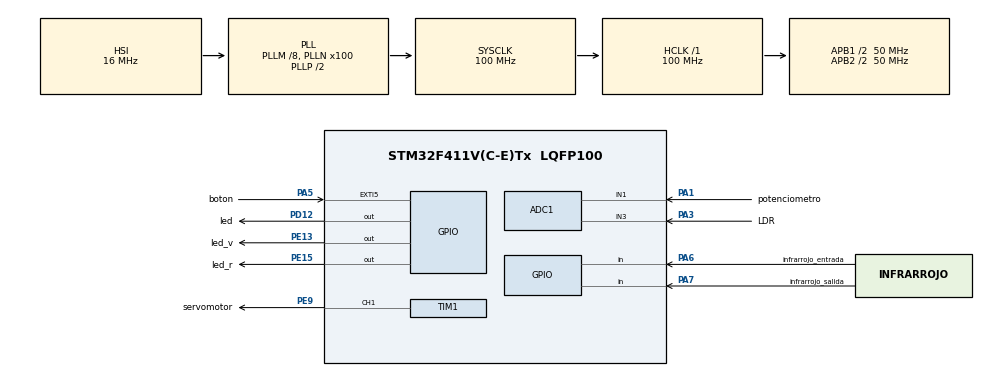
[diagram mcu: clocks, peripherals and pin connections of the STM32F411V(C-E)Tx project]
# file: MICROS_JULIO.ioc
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ADC1.Channel-0\#ChannelRegularConversion=ADC_CHANNEL_1
ADC1.Channel-1\#ChannelRegularConversion=ADC_CHANNEL_1
ADC1.ClockPrescaler=ADC_CLOCK_SYNC_PCLK_DIV2
ADC1.ContinuousConvMode=ENABLE
ADC1.DMAContinuousRequests=ENABLE
ADC1.NbrOfConversion=2
ADC1.NbrOfConversionFlag=1
ADC1.Rank-0\#ChannelRegularConversion=1
ADC1.Rank-1\#ChannelRegularConversion=2
ADC1.SamplingTime-0\#ChannelRegularConversion=ADC_SAMPLETIME_3CYCLES
ADC1.SamplingTime-1\#ChannelRegularConversion=ADC_SAMPLETIME_3CYCLES
ADC1.ScanConvMode=ENABLE
ADC1.master=1
Dma.ADC1.0.Direction=DMA_PERIPH_TO_MEMORY
Dma.ADC1.0.FIFOMode=DMA_FIFOMODE_DISABLE
Dma.ADC1.0.Instance=DMA2_Stream0
Dma.ADC1.0.MemDataAlignment=DMA_MDATAALIGN_HALFWORD
Dma.ADC1.0.MemInc=DMA_MINC_ENABLE
Dma.ADC1.0.Mode=DMA_NORMAL
Dma.ADC1.0.PeriphDataAlignment=DMA_PDATAALIGN_HALFWORD
Dma.ADC1.0.PeriphInc=DMA_PINC_DISABLE
Dma.ADC1.0.Priority=DMA_PRIORITY_LOW
Dma.Request0=ADC1
Mcu.Family=STM32F4
Mcu.Name=STM32F411V(C-E)Tx
Mcu.Package=LQFP100
NVIC.DMA2_Stream0_IRQn=true\:0\:0\:false\:false\:true\:false\:true\:true
NVIC.EXTI9_5_IRQn=true\:0\:0\:false\:false\:true\:true\:true\:true
NVIC.PriorityGroup=NVIC_PRIORITYGROUP_0
PA1.GPIO_Label=potenciometro
PA1.Signal=ADCx_IN1
PA3.GPIO_Label=LDR
PA3.Signal=ADCx_IN3
PA5.GPIO_Label=boton
PA5.Signal=GPXTI5
PA6.GPIO_Label=infrarrojo_entrada
PA6.Signal=GPIO_Input
PA7.GPIO_Label=infrarrojo_salida
PA7.Signal=GPIO_Input
PD12.GPIO_Label=led
PD12.Signal=GPIO_Output
PE13.GPIO_Label=led_v
PE13.Signal=GPIO_Output
PE15.GPIO_Label=led_r
PE15.Signal=GPIO_Output
PE9.GPIO_Label=servomotor
PE9.Signal=S_TIM1_CH1
ProjectManager.HeapSize=0x200
ProjectManager.StackSize=0x400
ProjectManager.TargetToolchain=STM32CubeIDE
RCC.48MHZClocksFreq_Value=25000000
RCC.AHBFreq_Value=100000000
RCC.APB1CLKDivider=RCC_HCLK_DIV2
RCC.APB1Freq_Value=50000000
RCC.APB1TimFreq_Value=100000000
RCC.APB2CLKDivider=RCC_HCLK_DIV2
RCC.APB2Freq_Value=50000000
RCC.APB2TimFreq_Value=100000000
RCC.CortexFreq_Value=100000000
RCC.HCLKFreq_Value=100000000
RCC.HSE_VALUE=8000000
RCC.HSI_VALUE=16000000
RCC.LSE_VALUE=32768
RCC.PLLI2SM=5
RCC.PLLI2SN=200
RCC.PLLM=8
RCC.PLLN=100
RCC.PLLQ=8
RCC.SYSCLKFreq_VALUE=100000000
RCC.SYSCLKSource=RCC_SYSCLKSOURCE_PLLCLK
RCC.VCOOutputFreq_Value=200000000
SH.ADCx_IN1.0=ADC1_IN1,IN1
SH.ADCx_IN3.0=ADC1_IN3,IN3
SH.S_TIM1_CH1.0=TIM1_CH1,PWM Generation1 CH1
TIM1.AutoReloadPreload=TIM_AUTORELOAD_PRELOAD_ENABLE
TIM1.Channel-PWM\ Generation1\ CH1=TIM_CHANNEL_1
TIM1.Period=100-1
TIM1.Prescaler=20000-1
TIM3.Prescaler=100-1
VP_TIM1_VS_ClockSourceINT.Mode=Internal
VP_TIM3_VS_ClockSourceINT.Mode=Internal
board=STM32F411E-DISCO

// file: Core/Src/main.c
/* USER CODE BEGIN Header */
/**
  ******************************************************************************
  * @file           : main.c
  * @brief          : Main program body
  ******************************************************************************
  * @attention
  *
  * Copyright (c) 2024 STMicroelectronics.
  * All rights reserved.
  *
  * This software is licensed under terms that can be found in the LICENSE file
  * in the root directory of this software component.
  * If no LICENSE file comes with this software, it is provided AS-IS.
  *
  ******************************************************************************
  */
/* USER CODE END Header */
#include "main.h"

ADC_HandleTypeDef hadc1;
DMA_HandleTypeDef hdma_adc1;

TIM_HandleTypeDef htim1;
TIM_HandleTypeDef htim3;

void SystemClock_Config(void);
static void MX_GPIO_Init(void);
static void MX_DMA_Init(void);
static void MX_ADC1_Init(void);
static void MX_TIM1_Init(void);
static void MX_TIM3_Init(void);

/* USER CODE BEGIN 0 */

uint32_t valor_adc[2];
uint32_t pot_val=0,ldr_val=0;
uint32_t duty=0;
volatile uint8_t modo=0;
volatile uint8_t dma_completo = 0;
volatile uint8_t bajar_barrera=0;

uint32_t servo_manual(uint32_t value){
	if(value>0 && value<3500){ // cerrado
		HAL_GPIO_WritePin(GPIOE,GPIO_PIN_13,1);
		HAL_GPIO_WritePin(GPIOE,GPIO_PIN_15,0);
		return 5;
	}
	else if(value>=3500){ // abierto
		HAL_GPIO_WritePin(GPIOE,GPIO_PIN_13,0);
		HAL_GPIO_WritePin(GPIOE,GPIO_PIN_15,1);
		return 8;
	}
	else return 8;
}

void servo_automatico(){

	int contador=0,tiempo=0;
//SERVO GIRA SENTIDO ENTRADA
		if((HAL_GPIO_ReadPin(GPIOA,GPIO_PIN_6))&&(bajar_barrera==0)){
			tiempo=HAL_GetTick();
			while(contador<5){
				if((HAL_GetTick()-tiempo)>=25){
					if(HAL_GPIO_ReadPin(GPIOA,GPIO_PIN_6)==0){
						contador=0;
						break;
					}
					else {
						tiempo=HAL_GetTick();
						contador++;
					}
				}
				if((contador==5)&&(HAL_GPIO_ReadPin(GPIOA,GPIO_PIN_6)==1)){
					__HAL_TIM_SET_COMPARE(&htim1,TIM_CHANNEL_1,5); //EL 5 ES POR RETURN 5 DEL SERVO MANUAL
					HAL_GPIO_WritePin(GPIOE,GPIO_PIN_13,1);
					HAL_GPIO_WritePin(GPIOE,GPIO_PIN_15,0);
					bajar_barrera=1;
				}

			}
		}
		contador=0;

//SERVO GIRA SENTIDO SALIDA
		if((HAL_GPIO_ReadPin(GPIOA,GPIO_PIN_7))&&(bajar_barrera==0)){
					tiempo=HAL_GetTick();
					while(contador<5){
						if((HAL_GetTick()-tiempo)>=25){
							if(HAL_GPIO_ReadPin(GPIOA,GPIO_PIN_7)==0){
								contador=0;
								break;
							}
							else {
								tiempo=HAL_GetTick();
								contador++;
							}
						}
						if((contador==5)&&(HAL_GPIO_ReadPin(GPIOA,GPIO_PIN_7)==1)){
							__HAL_TIM_SET_COMPARE(&htim1,TIM_CHANNEL_1,5); //EL 5 ES POR RETURN 5 DEL SERVO MANUAL, pero este hay que cambiarlo creo
							HAL_GPIO_WritePin(GPIOE,GPIO_PIN_13,1);
							HAL_GPIO_WritePin(GPIOE,GPIO_PIN_15,0);
							bajar_barrera=1;
						}

					}
				}
				contador=0;
}

void HAL_GPIO_EXTI_Callback(uint16_t GPIO_Pin){
	if(GPIO_Pin==GPIO_PIN_5){
		if(modo==0)modo=1;
		else if(modo==1)modo=0;
	}
}

int encender_led(uint32_t value){
	if(value<3000)return 1;
	else return 0;
}

void HAL_ADC_ConvCpltCallback(ADC_HandleTypeDef *hadc)
{
  dma_completo = 1;
}

/* USER CODE END 0 */

int main(void)
{

  /* MCU Configuration--------------------------------------------------------*/

  /* Reset of all peripherals, Initializes the Flash interface and the Systick. */
  HAL_Init();

  /* Configure the system clock */
  SystemClock_Config();

  /* Initialize all configured peripherals */
  MX_GPIO_Init();
  MX_DMA_Init();
  MX_ADC1_Init();
  MX_TIM1_Init();
  MX_TIM3_Init();

  /* Infinite loop */
  /* USER CODE BEGIN WHILE */
  int tiempo_barrera=0;
  int aux=0;
  while (1)
  {
	  pot_val=valor_adc[0];
	 	 ldr_val=valor_adc[1];

	 	  if(modo==1) __HAL_TIM_SET_COMPARE(&htim1,TIM_CHANNEL_1,servo_manual(pot_val));
	 	  else servo_automatico();

	 	  HAL_GPIO_WritePin(GPIOD,GPIO_PIN_12,encender_led(ldr_val));

	 	  if((bajar_barrera==1)&&(aux==0)){
	 		  tiempo_barrera=HAL_GetTick();
	 		  aux=1;
	 	  }

	 	  if(HAL_GetTick()-tiempo_barrera>3000){
	 		 __HAL_TIM_SET_COMPARE(&htim1,TIM_CHANNEL_1,8); // cerrado RETURN 8 POR SERVO MANUAL creo
	 		 HAL_GPIO_WritePin(GPIOE,GPIO_PIN_13,0);
	 		 HAL_GPIO_WritePin(GPIOE,GPIO_PIN_15,1);
	 		 bajar_barrera=0;
	 		 aux=0;
	 	  }

    /* USER CODE END WHILE */

  }
}

void SystemClock_Config(void)
{
  RCC_OscInitTypeDef RCC_OscInitStruct = {0};
  RCC_ClkInitTypeDef RCC_ClkInitStruct = {0};

  /** Configure the main internal regulator output voltage
  */
  __HAL_RCC_PWR_CLK_ENABLE();
  __HAL_PWR_VOLTAGESCALING_CONFIG(PWR_REGULATOR_VOLTAGE_SCALE1);

  /** Initializes the RCC Oscillators according to the specified parameters
  * in the RCC_OscInitTypeDef structure.
  */
  RCC_OscInitStruct.OscillatorType = RCC_OSCILLATORTYPE_HSI;
  RCC_OscInitStruct.HSIState = RCC_HSI_ON;
  RCC_OscInitStruct.HSICalibrationValue = RCC_HSICALIBRATION_DEFAULT;
  RCC_OscInitStruct.PLL.PLLState = RCC_PLL_ON;
  RCC_OscInitStruct.PLL.PLLSource = RCC_PLLSOURCE_HSI;
  RCC_OscInitStruct.PLL.PLLM = 8;
  RCC_OscInitStruct.PLL.PLLN = 100;
  RCC_OscInitStruct.PLL.PLLP = RCC_PLLP_DIV2;
  RCC_OscInitStruct.PLL.PLLQ = 8;
  if (HAL_RCC_OscConfig(&RCC_OscInitStruct) != HAL_OK)
  {
    Error_Handler();
  }

  /** Initializes the CPU, AHB and APB buses clocks
  */
  RCC_ClkInitStruct.ClockType = RCC_CLOCKTYPE_HCLK|RCC_CLOCKTYPE_SYSCLK
                              |RCC_CLOCKTYPE_PCLK1|RCC_CLOCKTYPE_PCLK2;
  RCC_ClkInitStruct.SYSCLKSource = RCC_SYSCLKSOURCE_PLLCLK;
  RCC_ClkInitStruct.AHBCLKDivider = RCC_SYSCLK_DIV1;
  RCC_ClkInitStruct.APB1CLKDivider = RCC_HCLK_DIV2;
  RCC_ClkInitStruct.APB2CLKDivider = RCC_HCLK_DIV2;

  if (HAL_RCC_ClockConfig(&RCC_ClkInitStruct, FLASH_LATENCY_3) != HAL_OK)
  {
    Error_Handler();
  }
}

static void MX_ADC1_Init(void)
{

  ADC_ChannelConfTypeDef sConfig = {0};

  /** Configure the global features of the ADC (Clock, Resolution, Data Alignment and number of conversion)
  */
  hadc1.Instance = ADC1;
  hadc1.Init.ClockPrescaler = ADC_CLOCK_SYNC_PCLK_DIV2;
  hadc1.Init.Resolution = ADC_RESOLUTION_12B;
  hadc1.Init.ScanConvMode = ENABLE;
  hadc1.Init.ContinuousConvMode = ENABLE;
  hadc1.Init.DiscontinuousConvMode = DISABLE;
  hadc1.Init.ExternalTrigConvEdge = ADC_EXTERNALTRIGCONVEDGE_NONE;
  hadc1.Init.ExternalTrigConv = ADC_SOFTWARE_START;
  hadc1.Init.DataAlign = ADC_DATAALIGN_RIGHT;
  hadc1.Init.NbrOfConversion = 2;
  hadc1.Init.DMAContinuousRequests = ENABLE;
  hadc1.Init.EOCSelection = ADC_EOC_SINGLE_CONV;
  if (HAL_ADC_Init(&hadc1) != HAL_OK)
  {
    Error_Handler();
  }

  /** Configure for the selected ADC regular channel its corresponding rank in the sequencer and its sample time.
  */
  sConfig.Channel = ADC_CHANNEL_1;
  sConfig.Rank = 1;
  sConfig.SamplingTime = ADC_SAMPLETIME_3CYCLES;
  if (HAL_ADC_ConfigChannel(&hadc1, &sConfig) != HAL_OK)
  {
    Error_Handler();
  }

  /** Configure for the selected ADC regular channel its corresponding rank in the sequencer and its sample time.
  */
  sConfig.Rank = 2;
  if (HAL_ADC_ConfigChannel(&hadc1, &sConfig) != HAL_OK)
  {
    Error_Handler();
  }

}

static void MX_TIM1_Init(void)
{

  TIM_ClockConfigTypeDef sClockSourceConfig = {0};
  TIM_MasterConfigTypeDef sMasterConfig = {0};
  TIM_OC_InitTypeDef sConfigOC = {0};
  TIM_BreakDeadTimeConfigTypeDef sBreakDeadTimeConfig = {0};

  htim1.Instance = TIM1;
  htim1.Init.Prescaler = 20000-1;
  htim1.Init.CounterMode = TIM_COUNTERMODE_UP;
  htim1.Init.Period = 100-1;
  htim1.Init.ClockDivision = TIM_CLOCKDIVISION_DIV1;
  htim1.Init.RepetitionCounter = 0;
  htim1.Init.AutoReloadPreload = TIM_AUTORELOAD_PRELOAD_ENABLE;
  if (HAL_TIM_Base_Init(&htim1) != HAL_OK)
  {
    Error_Handler();
  }
  sClockSourceConfig.ClockSource = TIM_CLOCKSOURCE_INTERNAL;
  if (HAL_TIM_ConfigClockSource(&htim1, &sClockSourceConfig) != HAL_OK)
  {
    Error_Handler();
  }
  if (HAL_TIM_PWM_Init(&htim1) != HAL_OK)
  {
    Error_Handler();
  }
  sMasterConfig.MasterOutputTrigger = TIM_TRGO_RESET;
  sMasterConfig.MasterSlaveMode = TIM_MASTERSLAVEMODE_DISABLE;
  if (HAL_TIMEx_MasterConfigSynchronization(&htim1, &sMasterConfig) != HAL_OK)
  {
    Error_Handler();
  }
  sConfigOC.OCMode = TIM_OCMODE_PWM1;
  sConfigOC.Pulse = 0;
  sConfigOC.OCPolarity = TIM_OCPOLARITY_HIGH;
  sConfigOC.OCNPolarity = TIM_OCNPOLARITY_HIGH;
  sConfigOC.OCFastMode = TIM_OCFAST_DISABLE;
  sConfigOC.OCIdleState = TIM_OCIDLESTATE_RESET;
  sConfigOC.OCNIdleState = TIM_OCNIDLESTATE_RESET;
  if (HAL_TIM_PWM_ConfigChannel(&htim1, &sConfigOC, TIM_CHANNEL_1) != HAL_OK)
  {
    Error_Handler();
  }
  sBreakDeadTimeConfig.OffStateRunMode = TIM_OSSR_DISABLE;
  sBreakDeadTimeConfig.OffStateIDLEMode = TIM_OSSI_DISABLE;
  sBreakDeadTimeConfig.LockLevel = TIM_LOCKLEVEL_OFF;
  sBreakDeadTimeConfig.DeadTime = 0;
  sBreakDeadTimeConfig.BreakState = TIM_BREAK_DISABLE;
  sBreakDeadTimeConfig.BreakPolarity = TIM_BREAKPOLARITY_HIGH;
  sBreakDeadTimeConfig.AutomaticOutput = TIM_AUTOMATICOUTPUT_DISABLE;
  if (HAL_TIMEx_ConfigBreakDeadTime(&htim1, &sBreakDeadTimeConfig) != HAL_OK)
  {
    Error_Handler();
  }
  HAL_TIM_MspPostInit(&htim1);

}

static void MX_TIM3_Init(void)
{

  TIM_ClockConfigTypeDef sClockSourceConfig = {0};
  TIM_MasterConfigTypeDef sMasterConfig = {0};

  htim3.Instance = TIM3;
  htim3.Init.Prescaler = 100-1;
  htim3.Init.CounterMode = TIM_COUNTERMODE_UP;
  htim3.Init.Period = 65535;
  htim3.Init.ClockDivision = TIM_CLOCKDIVISION_DIV1;
  htim3.Init.AutoReloadPreload = TIM_AUTORELOAD_PRELOAD_DISABLE;
  if (HAL_TIM_Base_Init(&htim3) != HAL_OK)
  {
    Error_Handler();
  }
  sClockSourceConfig.ClockSource = TIM_CLOCKSOURCE_INTERNAL;
  if (HAL_TIM_ConfigClockSource(&htim3, &sClockSourceConfig) != HAL_OK)
  {
    Error_Handler();
  }
  sMasterConfig.MasterOutputTrigger = TIM_TRGO_RESET;
  sMasterConfig.MasterSlaveMode = TIM_MASTERSLAVEMODE_DISABLE;
  if (HAL_TIMEx_MasterConfigSynchronization(&htim3, &sMasterConfig) != HAL_OK)
  {
    Error_Handler();
  }

}

static void MX_DMA_Init(void)
{

  /* DMA controller clock enable */
  __HAL_RCC_DMA2_CLK_ENABLE();

  /* DMA interrupt init */
  /* DMA2_Stream0_IRQn interrupt configuration */
  HAL_NVIC_SetPriority(DMA2_Stream0_IRQn, 0, 0);
  HAL_NVIC_EnableIRQ(DMA2_Stream0_IRQn);

}

static void MX_GPIO_Init(void)
{
  GPIO_InitTypeDef GPIO_InitStruct = {0};

  /* GPIO Ports Clock Enable */
  __HAL_RCC_GPIOA_CLK_ENABLE();
  __HAL_RCC_GPIOE_CLK_ENABLE();
  __HAL_RCC_GPIOD_CLK_ENABLE();

  /*Configure GPIO pin Output Level */
  HAL_GPIO_WritePin(GPIOE, led_v_Pin|led_r_Pin, GPIO_PIN_RESET);

  /*Configure GPIO pin Output Level */
  HAL_GPIO_WritePin(led_GPIO_Port, led_Pin, GPIO_PIN_RESET);

  /*Configure GPIO pin : boton_Pin */
  GPIO_InitStruct.Pin = boton_Pin;
  GPIO_InitStruct.Mode = GPIO_MODE_IT_RISING;
  GPIO_InitStruct.Pull = GPIO_NOPULL;
  HAL_GPIO_Init(boton_GPIO_Port, &GPIO_InitStruct);

  /*Configure GPIO pins : infrarrojo_entrada_Pin infrarrojo_salida_Pin */
  GPIO_InitStruct.Pin = infrarrojo_entrada_Pin|infrarrojo_salida_Pin;
  GPIO_InitStruct.Mode = GPIO_MODE_INPUT;
  GPIO_InitStruct.Pull = GPIO_NOPULL;
  HAL_GPIO_Init(GPIOA, &GPIO_InitStruct);

  /*Configure GPIO pins : led_v_Pin led_r_Pin */
  GPIO_InitStruct.Pin = led_v_Pin|led_r_Pin;
  GPIO_InitStruct.Mode = GPIO_MODE_OUTPUT_PP;
  GPIO_InitStruct.Pull = GPIO_NOPULL;
  GPIO_InitStruct.Speed = GPIO_SPEED_FREQ_LOW;
  HAL_GPIO_Init(GPIOE, &GPIO_InitStruct);

  /*Configure GPIO pin : led_Pin */
  GPIO_InitStruct.Pin = led_Pin;
  GPIO_InitStruct.Mode = GPIO_MODE_OUTPUT_PP;
  GPIO_InitStruct.Pull = GPIO_NOPULL;
  GPIO_InitStruct.Speed = GPIO_SPEED_FREQ_LOW;
  HAL_GPIO_Init(led_GPIO_Port, &GPIO_InitStruct);

  /* EXTI interrupt init*/
  HAL_NVIC_SetPriority(EXTI9_5_IRQn, 0, 0);
  HAL_NVIC_EnableIRQ(EXTI9_5_IRQn);

}

void Error_Handler(void)
{
  __disable_irq();
  while (1)
  {
  }
}
